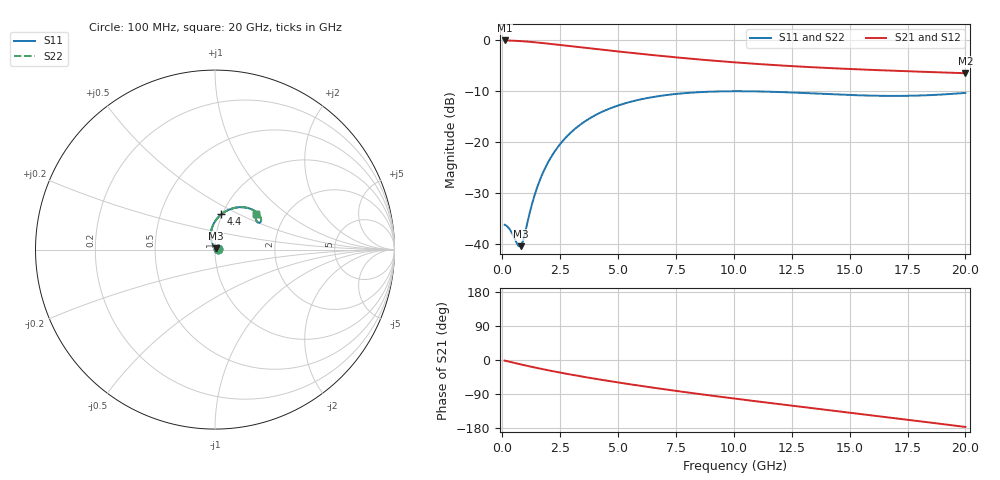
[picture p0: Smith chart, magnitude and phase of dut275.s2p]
! Created with skrf 1.9.0 (http://scikit-rf.org).
# GHz S RI R 50.0
!freq ReS11 ImS11 ReS21 ImS21 ReS12 ImS12 ReS22 ImS22
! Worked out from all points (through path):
!   200 points, 100 MHz to 20 GHz, reference 50 ohm
!   highest |S21| = -0.14 dB at 100 MHz (marker M1); lowest = -6.6 dB at 20 GHz (marker M2)
!   group delay of S21, straight-line fit = 23.2 ps
!   lowest |S11| = -40.5 dB at 800 MHz (marker M3), VSWR 1.02, Z = 50.5 + j0.832 ohm
!   |S11| at or under -10 dB: start of sweep to end of sweep
!   |S22| runs from -40.5 to -10.1 dB; largest |S21 - S12| = 2.2e-15
!   S11 on the Smith chart (normalised r, x): 100 MHz: 1.03, +0.00; 4.4 GHz: 0.99, +0.41; 20 GHz: 1.43, +0.62
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0.1  0.0153 0.000638  0.984 -0.0255  0.984 -0.0255  0.0153 0.000638
0.3  0.0139 0.00181  0.9793 -0.0758  0.9793 -0.0758  0.0139 0.00181
0.7  0.00696 0.00635  0.9576 -0.1724  0.9576 -0.1724  0.00696 0.00635
0.8  0.00456 0.00825  0.9499 -0.1953  0.9499 -0.1953  0.00456 0.00825
0.9  0.00198 0.0105  0.9415 -0.2176  0.9415 -0.2176  0.00198 0.0105
1.2  -0.00615 0.0197  0.9119 -0.2808  0.9119 -0.2808  -0.00615 0.0197
1.4  -0.0114 0.0278  0.8894 -0.3197  0.8894 -0.3197  -0.0114 0.0278
1.6  -0.016 0.0374  0.8651 -0.3558  0.8651 -0.3558  -0.016 0.0374
1.9  -0.0212 0.054  0.8262 -0.4051  0.8262 -0.4051  -0.0212 0.054
2.2  -0.0236 0.0724  0.7852 -0.4488  0.7852 -0.4488  -0.0236 0.0724
2.6  -0.0223 0.0984  0.7289 -0.4991  0.7289 -0.4991  -0.0223 0.0984
3  -0.0159 0.1243  0.6717 -0.5413  0.6717 -0.5413  -0.0159 0.1243
3.5  -0.00164 0.1543  0.6 -0.5842  0.6 -0.5842  -0.00164 0.1543
4.4  0.0361 0.1972  0.4737 -0.6378  0.4737 -0.6378  0.0361 0.1972
5.5  0.0908 0.2273  0.3284 -0.6704  0.3284 -0.6704  0.0908 0.2273
6.8  0.1519 0.2362  0.1739 -0.6741  0.1739 -0.6741  0.1519 0.2362
8.4  0.2088 0.2223  0.0122 -0.6436  0.0122 -0.6436  0.2088 0.2223
10.1  0.2437 0.1958  -0.1279 -0.5849  -0.1279 -0.5849  0.2437 0.1958
13.4  0.2544 0.1545  -0.3245 -0.4283  -0.3245 -0.4283  0.2544 0.1545
16.7  0.2337 0.1563  -0.4388 -0.2363  -0.4388 -0.2363  0.2337 0.1563
18.4  0.2267 0.1739  -0.4653 -0.1291  -0.4653 -0.1291  0.2267 0.1739
20  0.2279 0.1965  -0.4686 -0.0275  -0.4686 -0.0275  0.2279 0.1965
